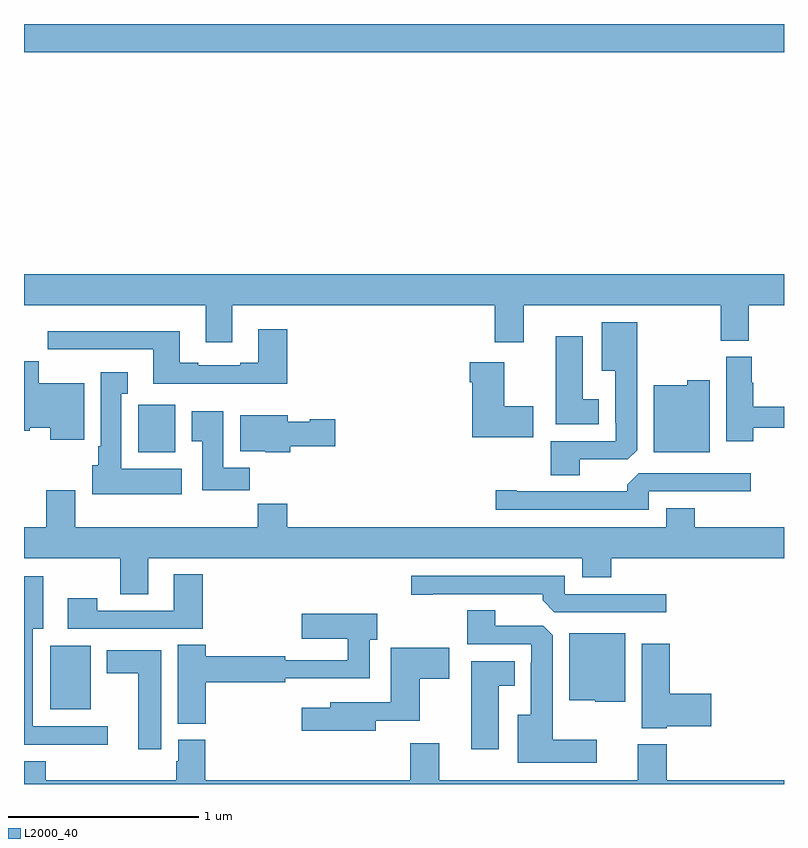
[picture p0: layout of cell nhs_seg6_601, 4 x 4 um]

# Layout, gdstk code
import gdstk
lib = gdstk.Library(unit=1e-6, precision=1e-09)
def R(c, l, rs):  # rectangles x0, y0, x1, y1
    for r in rs: c.add(gdstk.rectangle(r[:2], r[2:], *l))
def P(c, l, *ps):  # polygons
    for p in ps: c.add(gdstk.Polygon(p, *l))
L2000_40 = (2000, 40)

nhs_seg6_601 = lib.new_cell('nhs_seg6_601')
R(nhs_seg6_601, L2000_40, [(149.138,927.893,149.35,928.228), (149.601,929.246,149.797,929.496), (149,931.352,153,931.5)])
P(nhs_seg6_601, L2000_40, [(150.097,930.02),(151.478,930.02),(151.478,929.826),(151.63,929.826),(151.63,930.02),(152.668,930.02),(152.668,929.833),(152.815,929.833),(152.815,930.02),(153,930.02),(153,930.184),(149,930.184),(149,930.02),(149.957,930.02),(149.957,929.826),(150.097,929.826)],
  [(151.924,929.208),(152.178,929.208),(152.227,929.257),(152.227,929.929),(152.042,929.929),(152.042,929.675),(152.111,929.675),(152.111,929.401),(152.115,929.401),(152.115,929.304),(151.772,929.304),(151.772,929.125),(151.924,929.125)],
  [(150.386,929.893),(150.233,929.893),(150.233,929.716),(150.137,929.716),(150.137,929.703),(149.917,929.703),(149.917,929.716),(149.821,929.716),(149.821,929.884),(149.124,929.884),(149.124,929.789),(149.233,929.789),(149.233,929.787),(149.681,929.787),(149.681,929.606),(150.386,929.606)],
  [(152.026,929.524),(151.942,929.524),(151.942,929.857),(151.799,929.857),(151.799,929.393),(152.026,929.393)],
  [(152.838,929.376),(153,929.376),(153,929.485),(152.838,929.485),(152.838,929.612),(152.83,929.612),(152.83,929.748),(152.696,929.748),(152.696,929.304),(152.838,929.304)],
  [(149.317,929.608),(149.077,929.608),(149.077,929.724),(149,929.724),(149,929.36),(149.031,929.36),(149.031,929.375),(149.138,929.375),(149.138,929.312),(149.317,929.312)],
  [(151.681,929.487),(151.528,929.487),(151.528,929.719),(151.346,929.719),(151.346,929.615),(151.358,929.615),(151.358,929.324),(151.681,929.324)],
  [(149.83,929.158),(149.512,929.158),(149.512,929.555),(149.545,929.555),(149.545,929.668),(149.405,929.668),(149.405,929.278),(149.39,929.278),(149.39,929.178),(149.36,929.178),(149.36,929.024),(149.83,929.024)],
  [(152.608,929.626),(152.49,929.626),(152.49,929.599),(152.315,929.599),(152.315,929.246),(152.608,929.246)],
  [(150.188,929.164),(150.049,929.164),(150.049,929.461),(149.882,929.461),(149.882,929.305),(149.939,929.305),(149.939,929.046),(150.188,929.046)],
  [(150.401,929.278),(150.637,929.278),(150.637,929.42),(150.504,929.42),(150.504,929.407),(150.388,929.407),(150.388,929.44),(150.137,929.44),(150.137,929.252),(150.27,929.252),(150.27,929.246),(150.401,929.246)],
  [(152.289,929.04),(152.824,929.04),(152.824,929.136),(152.235,929.136),(152.174,929.074),(152.174,929.04),(151.594,929.04),(151.594,929.045),(151.482,929.045),(151.482,928.944),(152.289,928.944)],
  [(149.653,928.688),(151.937,928.688),(151.937,928.589),(152.09,928.589),(152.09,928.688),(153,928.688),(153,928.852),(152.529,928.852),(152.529,928.951),(152.381,928.951),(152.381,928.852),(150.386,928.852),(150.386,928.976),(150.229,928.976),(150.229,928.852),(149.269,928.852),(149.269,929.047),(149.117,929.047),(149.117,928.852),(149,928.852),(149,928.688),(149.506,928.688),(149.506,928.498),(149.653,928.498)],
  [(149.942,928.603),(149.789,928.603),(149.789,928.413),(149.385,928.413),(149.385,928.477),(149.229,928.477),(149.229,928.317),(149.942,928.317)],
  [(152.38,928.5),(151.845,928.5),(151.845,928.596),(151.038,928.596),(151.038,928.495),(151.15,928.495),(151.15,928.5),(151.73,928.5),(151.73,928.466),(151.791,928.404),(152.38,928.404)],
  [(149.44,927.804),(149.047,927.804),(149.047,928.316),(149.101,928.316),(149.101,928.594),(149,928.594),(149,927.707),(149.44,927.707)],
  [(152.014,927.733),(151.783,927.733),(151.783,928.283),(151.734,928.332),(151.48,928.332),(151.48,928.415),(151.333,928.415),(151.333,928.236),(151.671,928.236),(151.671,928.139),(151.667,928.139),(151.667,927.865),(151.598,927.865),(151.598,927.611),(152.014,927.611)],
  [(149.957,928.036),(150.374,928.036),(150.374,928.056),(150.819,928.056),(150.819,928.258),(150.858,928.258),(150.858,928.395),(150.462,928.395),(150.462,928.265),(150.703,928.265),(150.703,928.152),(150.374,928.152),(150.374,928.172),(149.957,928.172),(149.957,928.232),(149.81,928.232),(149.81,927.817),(149.957,927.817)],
  [(152.164,928.294),(151.871,928.294),(151.871,927.941),(152.007,927.941),(152.007,927.932),(152.164,927.932)],
  [(152.382,927.803),(152.617,927.803),(152.617,927.974),(152.399,927.974),(152.399,928.237),(152.252,928.237),(152.252,927.794),(152.382,927.794)],
  [(150.85,927.834),(151.084,927.834),(151.084,928.054),(151.237,928.054),(151.237,928.216),(150.929,928.216),(150.929,927.93),(150.611,927.93),(150.611,927.901),(150.462,927.901),(150.462,927.779),(150.85,927.779)],
  [(149.722,928.204),(149.435,928.204),(149.435,928.082),(149.6,928.082),(149.6,927.684),(149.722,927.684)],
  [(151.498,928.016),(151.582,928.016),(151.582,928.147),(151.355,928.147),(151.355,927.684),(151.498,927.684)],
  [(153,927.52),(152.384,927.52),(152.384,927.709),(152.231,927.709),(152.231,927.52),(151.186,927.52),(151.186,927.715),(151.034,927.715),(151.034,927.52),(149.954,927.52),(149.954,927.732),(149.813,927.732),(149.813,927.621),(149.801,927.621),(149.801,927.52),(149.114,927.52),(149.114,927.619),(149,927.619),(149,927.5),(153,927.5)])

lib.write_gds('nhs_seg6_601.gds')
